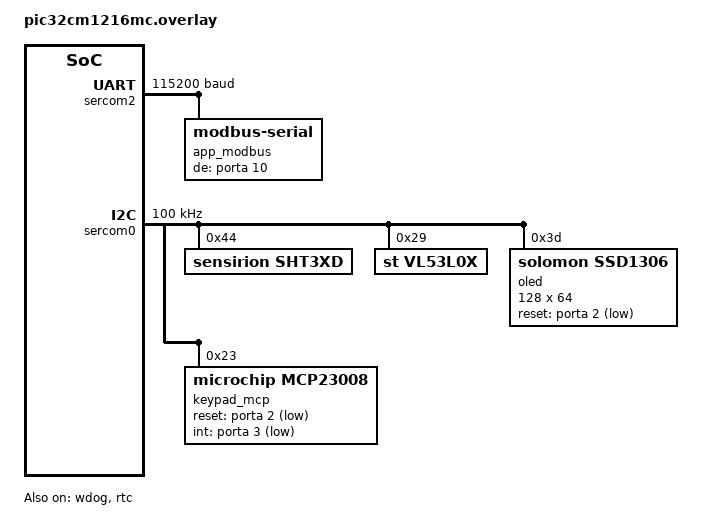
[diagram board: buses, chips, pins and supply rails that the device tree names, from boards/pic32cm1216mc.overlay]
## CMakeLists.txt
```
# SPDX-License-Identifier: Apache-2.0

cmake_minimum_required(VERSION 3.20.0)

# Out-of-tree board directory lives at <project>/boards (project root = app/..).
if(NOT DEFINED BOARD_ROOT)
  get_filename_component(BOARD_ROOT ${CMAKE_CURRENT_SOURCE_DIR}/.. ABSOLUTE)
  set(BOARD_ROOT ${BOARD_ROOT} CACHE PATH "Board root" FORCE)
endif()

find_package(Zephyr REQUIRED HINTS $ENV{ZEPHYR_BASE})
project(ZPHR-PIC32-0001)

# --- Local fix for a Zephyr SAM0 UART driver bug (no SDK edit) ---
# uart_sam0.c only caches the TXC flag (used by uart_irq_tx_complete(), which
# RS-485 / Modbus needs to drop DE after TX) when SERCOM_REV500 is defined,
# i.e. REV_SERCOM == 0x500 (SAMD51). The PIC32CM/SAMC21 SERCOM is REV 0x311 but
# DOES have TXC, so without this the Modbus TX never completes -> DRE interrupt
# storm -> lockup/watchdog reset. Force the define for this build only.
zephyr_compile_definitions(SERCOM_REV500)

target_include_directories(app PRIVATE inc)

target_sources(app PRIVATE
    src/main.c
    src/app.c
    src/button.c
    src/sensor.c
    src/modbus.c
    src/shell_nvs.c
    src/setup/setup_hw.c
    src/drivers/rtc.c
    src/drivers/watchdog.c
    src/tasks/task_ui.c
)
```

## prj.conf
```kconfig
CONFIG_GPIO=y

CONFIG_SERIAL=y
CONFIG_CONSOLE=y
CONFIG_UART_CONSOLE=y
CONFIG_PRINTK=y

CONFIG_SHELL=y
CONFIG_SHELL_STACK_SIZE=2048
CONFIG_SHELL_CMD_BUFF_SIZE=128
CONFIG_SHELL_PRINTF_BUFF_SIZE=80
CONFIG_SHELL_HISTORY=n
CONFIG_KERNEL_SHELL=y

CONFIG_UART_INTERRUPT_DRIVEN=y
CONFIG_MODBUS=y
CONFIG_MODBUS_ROLE_SERVER=y

CONFIG_REBOOT=y

CONFIG_FLASH=y
CONFIG_FLASH_MAP=y
CONFIG_NVS=y
CONFIG_NVS_INIT_BAD_MEMORY_REGION=y

CONFIG_I2C=y
CONFIG_SENSOR=y
CONFIG_SHT3XD=y
CONFIG_VL53L0X=y

CONFIG_DISPLAY=y
CONFIG_SSD1306=y
CONFIG_CHARACTER_FRAMEBUFFER=y
CONFIG_GPIO_MCP230XX=y

CONFIG_RTC=y

CONFIG_WATCHDOG=y

CONFIG_LOG=y
CONFIG_LOG_MODE_MINIMAL=y

CONFIG_MAIN_STACK_SIZE=1536
CONFIG_SYSTEM_WORKQUEUE_STACK_SIZE=1024
CONFIG_ISR_STACK_SIZE=1024

CONFIG_HEAP_MEM_POOL_SIZE=1536
CONFIG_SYS_HEAP_RUNTIME_STATS=y

CONFIG_SIZE_OPTIMIZATIONS=y
```

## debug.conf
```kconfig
CONFIG_LOG=y
CONFIG_LOG_MODE_MINIMAL=y
CONFIG_THREAD_NAME=y
CONFIG_THREAD_STACK_INFO=y
CONFIG_STACK_SENTINEL=y
```

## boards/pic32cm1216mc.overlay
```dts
/*
 * PIC32CM1216MC00032 (SAMC21E17A) - application devicetree overlay
 * (auto-applied for board pic32cm1216mc)
 *
 * Adds on top of the board:
 *   - SERCOM2 as the Modbus RTU UART (RS-485, with DE pin) on the header pins
 *     PA14 (TX) / PA15 (RX); RS-485 driver-enable (DE/RE tied) on PA10.
 *   - SERCOM0 as I2C for two sensors on the same bus:
 *       * Sensirion SHT3x temperature/humidity  @ 0x44
 *       * ST VL53L0X time-of-flight distance     @ 0x29
 *
 * SERCOM1 stays the console (board dts, debugger CDC). CAN0 is enabled by SoC.
 *
 * Pin assignment matches the Curiosity Nano silkscreen:
 *   PA14_UART-TX-S2P2, PA15_UART-RX-S2P3 (SERCOM2),
 *   PA8_I2C-SDA_S0P0,  PA9_I2C-SCL_S0P1  (SERCOM0).
 * NOTE: the kit has NO on-board I2C pull-ups (R203/R204 are DNP). Rely on the
 * sensor breakouts' own pull-ups, or add ~4.7k from SDA/SCL to VTG (3.3V).
 */

#include <zephyr/dt-bindings/gpio/gpio.h>
#include <zephyr/dt-bindings/i2c/i2c.h>
#include <dt-bindings/pinctrl/samc21n-pinctrl.h>

/ {
	aliases {
		modbus-uart = &sercom2;
		sht3x = &sht3xd;
		tof0 = &vl53l0x;
		keypad = &keypad_mcp;
	};

	chosen {
		zephyr,display = &oled;
	};
};

&pinctrl {
	/* Modbus UART: SERCOM2 TX=PA14 (PAD2), RX=PA15 (PAD3) */
	sercom2_uart_default: sercom2_uart_default {
		group1 {
			pinmux = <PA14C_SERCOM2_PAD2>,
				 <PA15C_SERCOM2_PAD3>;
		};
	};

	/* I2C: SERCOM0 SDA=PA08 (PAD0), SCL=PA09 (PAD1) */
	sercom0_i2c_default: sercom0_i2c_default {
		group1 {
			pinmux = <PA8C_SERCOM0_PAD0>,
				 <PA9C_SERCOM0_PAD1>;
		};
	};
};

/* ---- Modbus RTU serial line (RS-485) ---- */
&sercom2 {
	status = "okay";
	compatible = "atmel,sam0-uart";
	current-speed = <115200>;
	rxpo = <3>;	/* RX on PAD3 (PA15) */
	txpo = <1>;	/* TX on PAD2 (PA14) */
	pinctrl-0 = <&sercom2_uart_default>;
	pinctrl-names = "default";

	app_modbus: modbus0 {
		compatible = "zephyr,modbus-serial";
		status = "okay";
		/* RS-485 driver-enable (MAX485 DE+RE tied together) on PA10. */
		de-gpios = <&porta 10 GPIO_ACTIVE_HIGH>;
	};
};

/* ---- Watchdog (8 s, fed by the main loop) on the internal OSCULP32K ---- */
&wdog {
	status = "okay";
};

/* ---- Internal RTC (calendar) on the always-on OSCULP32K (no crystal).
 *      The board's 32.768 kHz crystal shares PA00/PA01 with the console,
 *      so we keep the console and run the RTC off the internal oscillator. */
&rtc {
	status = "okay";
	counter-mode = "clock";
	prescaler = <1024>;
};

/* ---- I2C bus + two sensors (SHT3x + VL53L0X) ---- */
&sercom0 {
	status = "okay";
	compatible = "atmel,sam0-i2c";
	clock-frequency = <I2C_BITRATE_STANDARD>;
	#address-cells = <1>;
	#size-cells = <0>;
	pinctrl-0 = <&sercom0_i2c_default>;
	pinctrl-names = "default";

	sht3xd: sht3xd@44 {
		compatible = "sensirion,sht3xd";
		reg = <0x44>;
		status = "okay";
	};

	vl53l0x: vl53l0x@29 {
		compatible = "st,vl53l0x";
		reg = <0x29>;
		status = "okay";
	};

	/* HW-LYT-00005 shield: SSD1306 128x64 OLED @ 0x3D (STM32 uses ADDR2=0x7A).
	 * LCD_RESET routed to PA02 (active-low), like the STM32's PB5. */
	oled: ssd1306@3d {
		compatible = "solomon,ssd1306";
		reg = <0x3d>;
		width = <128>;
		height = <64>;
		segment-offset = <0>;
		page-offset = <0>;
		display-offset = <0>;
		multiplex-ratio = <63>;
		/* segment-remap + com-invdir together = 180deg. This shield mounts
		 * the panel the other way up, so both are omitted (0deg). */
		prechargep = <0x22>;
		/* Normal video (black bg, white text). The header bar is drawn by
		 * inverting just the title band -> white bar with black title,
		 * matching the STM32 IHM look. */
		/* Shared shield RESET line (connector pin 3) -> PA02. */
		reset-gpios = <&porta 2 GPIO_ACTIVE_LOW>;
	};

	/* HW-LYT-00005 shield: MCP23008 GPIO expander @ 0x23.
	 *   P0..P3 = 4 status LEDs, P4..P7 = keys (UP/DOWN/CANCEL/ENTER).
	 * Shared shield RESET line (connector pin 3) -> PA02 (same as the OLED).
	 * INT line (connector pin 1) -> PA03 (active-low) for event-driven keys. */
	keypad_mcp: mcp23008@23 {
		compatible = "microchip,mcp23008";
		reg = <0x23>;
		status = "okay";
		gpio-controller;
		#gpio-cells = <2>;
		ngpios = <8>;
		reset-gpios = <&porta 2 GPIO_ACTIVE_LOW>;
		int-gpios = <&porta 3 GPIO_ACTIVE_LOW>;
	};
};
```

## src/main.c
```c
#include <zephyr/kernel.h>
#include <zephyr/sys/reboot.h>

#include "app.h"
#include "button.h"
#include "display.h"
#include "drivers/rtc.h"
#include "drivers/watchdog.h"
#include "sensor.h"
#include "setup/setup_hw.h"

#include <zephyr/logging/log.h>
LOG_MODULE_REGISTER(app, LOG_LEVEL_INF);

#define LOOP_TICK_MS      20      /* fast tick: watchdog + responsive button */
#define SENSOR_PERIOD_MS  1000    /* sensor read + RTC refresh + display redraw */

/* Apply the deferred Modbus requests outside the callback context. */
static void service_modbus_cmds(struct app_controller *app)
{
	uint32_t epoch = 0;

	if (app_consume_time_set(app, &epoch)) {
		rtc_write_epoch(epoch);
	}
	if (app_consume_config_dirty(app)) {
		setup_config_save(app);
	}
	if (app_reboot_requested(app)) {
		LOG_WRN("Reboot requested over Modbus");
		k_msleep(50);
		sys_reboot(SYS_REBOOT_COLD);
	}
}

int main(void)
{
	struct app_controller *app = NULL;
	int64_t next_sensor_ms = 0;

	if (setup_init() != 0) {
		return 0;
	}

	app = setup_app();

	while (1) {
		watchdog_kick();

		/* Board button: sampled + debounced every fast tick (20 ms) so it
		 * stays responsive. */
		button_poll(app);

		/* Sensors + RTC + display refresh, gated to ~1 s (the I2C reads
		 * are slow, no need to do them every tick). */
		if (k_uptime_get() >= next_sensor_ms) {
			uint32_t epoch = 0;

			sensor_update();
			if (rtc_read_epoch(&epoch) == 0) {
				app_set_rtc_epoch(app, epoch);
			}
			ui_notify();

			next_sensor_ms = k_uptime_get() + SENSOR_PERIOD_MS;
		}

		/* Deferred Modbus commands (time-set / config save / reboot). */
		service_modbus_cmds(app);

		k_msleep(LOOP_TICK_MS);
	}

	return 0;
}
```

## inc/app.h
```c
#ifndef APP_H_
#define APP_H_

#ifdef __cplusplus
extern "C" {
#endif

#include <stdbool.h>
#include <stdint.h>

#define APP_FW_VERSION   0x0100
#define MODBUS_UNIT_ID   1

struct app_controller;
struct app_controller *app_init(void);
void app_set_led(struct app_controller *app, bool on);
bool app_get_led(struct app_controller *app);
void app_request_reboot(struct app_controller *app);
bool app_reboot_requested(struct app_controller *app);
void app_set_button(struct app_controller *app, bool pressed);
bool app_get_button(struct app_controller *app);
uint32_t app_get_press_count(struct app_controller *app);
void app_set_press_count(struct app_controller *app, uint32_t count);
void app_load_config(struct app_controller *app, uint16_t led_default);
void app_read_config(struct app_controller *app, uint16_t *led_default);
void app_set_led_default(struct app_controller *app, uint16_t led_default);
uint16_t app_get_led_default(struct app_controller *app);
bool app_consume_config_dirty(struct app_controller *app);
void app_set_rtc_epoch(struct app_controller *app, uint32_t epoch);
uint32_t app_get_rtc_epoch(struct app_controller *app);
void app_set_time_hi(struct app_controller *app, uint16_t hi);
void app_request_time_set(struct app_controller *app, uint16_t lo);
uint32_t app_get_set_epoch(struct app_controller *app);
bool app_consume_time_set(struct app_controller *app, uint32_t *epoch);

#ifdef __cplusplus
}
#endif

#endif /* APP_H_ */
```

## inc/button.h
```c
#ifndef BUTTON_H_
#define BUTTON_H_

#ifdef __cplusplus
extern "C" {
#endif

struct app_controller;

int button_init(void);
void button_poll(struct app_controller *app);

#ifdef __cplusplus
}
#endif

#endif /* BUTTON_H_ */
```

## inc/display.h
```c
#ifndef DISPLAY_H_
#define DISPLAY_H_

#ifdef __cplusplus
extern "C" {
#endif

#include <stdbool.h>

struct app_controller;

int ui_init(struct app_controller *app);
void ui_boot_splash(void);
void ui_render(void);
void ui_update_leds(void);
void ui_service_keys(void);
void ui_notify(void);

#ifdef __cplusplus
}
#endif

#endif /* DISPLAY_H_ */
```

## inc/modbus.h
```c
#ifndef MODBUS_APP_H_
#define MODBUS_APP_H_

#ifdef __cplusplus
extern "C" {
#endif

struct app_controller;

int modbus_server_start(struct app_controller *app);

#ifdef __cplusplus
}
#endif

#endif /* MODBUS_APP_H_ */
```

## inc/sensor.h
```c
#ifndef SENSOR_H_
#define SENSOR_H_

#ifdef __cplusplus
extern "C" {
#endif

#include <stdint.h>

struct sensor_measures {
	int16_t temp_c100;       /* temperature, degC x 100 */
	uint16_t rh_x100;        /* relative humidity, %RH x 100 */
	uint16_t sensor_status;  /* SHT3x: 0 ok, 1 error/absent */
	uint16_t dist_mm;        /* VL53L0X distance, mm */
	uint16_t dist_status;    /* VL53L0X: 0 ok, 1 error/absent */
};

int sensor_init(void);
void sensor_update(void);
int sensor_get(struct sensor_measures *measures);

#ifdef __cplusplus
}
#endif

#endif /* SENSOR_H_ */
```

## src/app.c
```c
#include "app.h"

#include <zephyr/device.h>
#include <zephyr/drivers/gpio.h>
#include <zephyr/kernel.h>

#include <zephyr/logging/log.h>
LOG_MODULE_REGISTER(app_ctrl, LOG_LEVEL_INF);

struct app_controller {
	struct k_mutex lock;
	bool led_on;
	bool reboot_req;
	bool button_state;
	bool config_dirty;        /* set by Modbus, flushed to NVS by main loop */
	bool time_set_req;        /* set by Modbus, applied by main loop */
	uint16_t set_epoch_hi;    /* buffered high word for a time-set write */
	uint16_t led_default;     /* 0/1 */
	uint32_t press_count;
	uint32_t rtc_epoch;       /* cached RTC time (epoch seconds) */
	uint32_t set_epoch;       /* full epoch to apply (set by Modbus) */
};

static inline void app_lock(struct app_controller *app);
static inline void app_unlock(struct app_controller *app);
static void led_drive(struct app_controller *app);

static const struct gpio_dt_spec led = GPIO_DT_SPEC_GET(DT_ALIAS(led0), gpios);

static struct app_controller app_instance;

static inline void app_lock(struct app_controller *app)
{
	k_mutex_lock(&app->lock, K_FOREVER);
}

static inline void app_unlock(struct app_controller *app)
{
	k_mutex_unlock(&app->lock);
}

/* Drive led0 from app->led_on. Only called with the lock held. */
static void led_drive(struct app_controller *app)
{
	gpio_pin_set_dt(&led, app->led_on ? 1 : 0);
}

struct app_controller *app_init(void)
{
	struct app_controller *app = &app_instance;

	k_mutex_init(&app->lock);

	if (!gpio_is_ready_dt(&led)) {
		LOG_ERR("LED GPIO not ready");
		return NULL;
	}
	gpio_pin_configure_dt(&led, GPIO_OUTPUT_INACTIVE);
	return app;
}

void app_set_led(struct app_controller *app, bool on)
{
	app_lock(app);
	app->led_on = on;
	led_drive(app);
	app_unlock(app);
}

bool app_get_led(struct app_controller *app)
{
	bool on = false;

	app_lock(app);
	on = app->led_on;
	app_unlock(app);
	return on;
}

void app_request_reboot(struct app_controller *app)
{
	app_lock(app);
	app->reboot_req = true;
	app_unlock(app);
}

bool app_reboot_requested(struct app_controller *app)
{
	bool req = false;

	app_lock(app);
	req = app->reboot_req;
	app_unlock(app);
	return req;
}

void app_set_button(struct app_controller *app, bool pressed)
{
	app_lock(app);
	app->button_state = pressed;
	if (pressed) {
		app->press_count++;
		app->config_dirty = true;   /* persist the new count to NVS */
	}
	app_unlock(app);
}

bool app_get_button(struct app_controller *app)
{
	bool pressed = false;

	app_lock(app);
	pressed = app->button_state;
	app_unlock(app);
	return pressed;
}

uint32_t app_get_press_count(struct app_controller *app)
{
	uint32_t count = 0;

	app_lock(app);
	count = app->press_count;
	app_unlock(app);
	return count;
}

void app_set_press_count(struct app_controller *app, uint32_t count)
{
	app_lock(app);
	app->press_count = count;
	app_unlock(app);
}

void app_load_config(struct app_controller *app, uint16_t led_default)
{
	app_lock(app);
	app->led_default = led_default ? 1 : 0;
	app_unlock(app);
}

void app_read_config(struct app_controller *app, uint16_t *led_default)
{
	app_lock(app);
	*led_default = app->led_default;
	app_unlock(app);
}

void app_set_led_default(struct app_controller *app, uint16_t led_default)
{
	app_lock(app);
	app->led_default = led_default ? 1 : 0;
	app->config_dirty = true;
	app_unlock(app);
}

uint16_t app_get_led_default(struct app_controller *app)
{
	uint16_t led_default = 0;

	app_lock(app);
	led_default = app->led_default;
	app_unlock(app);
	return led_default;
}

bool app_consume_config_dirty(struct app_controller *app)
{
	bool dirty = false;

	app_lock(app);
	dirty = app->config_dirty;
	app->config_dirty = false;
	app_unlock(app);
	return dirty;
}

void app_set_rtc_epoch(struct app_controller *app, uint32_t epoch)
{
	app_lock(app);
	app->rtc_epoch = epoch;
	app_unlock(app);
}

uint32_t app_get_rtc_epoch(struct app_controller *app)
{
	uint32_t epoch = 0;

	app_lock(app);
	epoch = app->rtc_epoch;
	app_unlock(app);
	return epoch;
}

void app_set_time_hi(struct app_controller *app, uint16_t hi)
{
	app_lock(app);
	app->set_epoch_hi = hi;
	app_unlock(app);
}

void app_request_time_set(struct app_controller *app, uint16_t lo)
{
	app_lock(app);
	app->set_epoch = ((uint32_t)app->set_epoch_hi << 16) | lo;
	app->time_set_req = true;
	app_unlock(app);
}

uint32_t app_get_set_epoch(struct app_controller *app)
{
	uint32_t epoch = 0;

	app_lock(app);
	epoch = app->set_epoch;
	app_unlock(app);
	return epoch;
}

bool app_consume_time_set(struct app_controller *app, uint32_t *epoch)
{
	bool req = false;

	app_lock(app);
	req = app->time_set_req;
	app->time_set_req = false;
	*epoch = app->set_epoch;
	app_unlock(app);
	return req;
}
```

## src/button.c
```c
#include "button.h"

#include <errno.h>

#include <zephyr/device.h>
#include <zephyr/drivers/gpio.h>
#include <zephyr/kernel.h>

#include "app.h"

#include <zephyr/logging/log.h>
LOG_MODULE_REGISTER(app_button, LOG_LEVEL_INF);

#define DEBOUNCE_TICKS   2

static const struct gpio_dt_spec button = GPIO_DT_SPEC_GET(DT_ALIAS(sw0), gpios);

static int raw_prev;
static int stable;
static bool pressed;

int button_init(void)
{
	if (!gpio_is_ready_dt(&button)) {
		return -ENODEV;
	}
	gpio_pin_configure_dt(&button, GPIO_INPUT);
	return 0;
}

void button_poll(struct app_controller *app)
{
	int raw = gpio_pin_get_dt(&button);

	if (raw == raw_prev) {
		if (stable < DEBOUNCE_TICKS) {
			stable++;
		}
	} else {
		stable = 0;
		raw_prev = raw;
	}

	if (stable == DEBOUNCE_TICKS && (raw != 0) != pressed) {
		pressed = (raw != 0);
		app_set_button(app, pressed);
	}
}
```

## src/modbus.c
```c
/**
 *
 * Register map (all addresses 0-based):
 *
 *   Coils (FC01 read / FC05 write) - RW bits
 *     0  LED control            1=on, 0=off (manual)
 *     1  Reboot command         write 1 -> system reboot
 *
 *   Discrete Inputs (FC02) - RO bits
 *     0  Button SW0 state       1=pressed
 *
 *   Input Registers (FC04) - RO 16-bit
 *     0  Uptime seconds, high word
 *     1  Uptime seconds, low word
 *     2  Button press count
 *     3  Firmware version       (0x0100 = v1.0)
 *     4  Free heap (bytes)
 *     5  SHT3x temperature      signed, degC x 100
 *     6  SHT3x humidity          %RH x 100
 *     7  VL53L0X distance       millimeters (clamped to 65535)
 *     8  RTC time, high word    epoch seconds >> 16
 *     9  RTC time, low word     epoch seconds & 0xFFFF
 *
 *   Holding Registers (FC03 read / FC06 write) - RW 16-bit (config)
 *     0  LED default state      restored on boot (0/1)   [NVS]
 *     1  Set time, high word    epoch seconds >> 16      (buffered)
 *     2  Set time, low word     epoch seconds & 0xFFFF   (write applies to RTC)
 */

#include "modbus.h"

#include <zephyr/kernel.h>
#include <zephyr/modbus/modbus.h>
#include <zephyr/sys/sys_heap.h>
#include <zephyr/sys/mem_stats.h>

#include "app.h"
#include "sensor.h"

#include <zephyr/logging/log.h>
LOG_MODULE_REGISTER(app_modbus, LOG_LEVEL_INF);

#define MODBUS_NODE DT_COMPAT_GET_ANY_STATUS_OKAY(zephyr_modbus_serial)

extern struct k_heap _system_heap;

static uint32_t modbus_free_heap_bytes(void);
static int modbus_coil_rd(uint16_t addr, bool *state);
static int modbus_coil_wr(uint16_t addr, bool state);
static int modbus_discrete_input_rd(uint16_t addr, bool *state);
static int modbus_input_reg_rd(uint16_t addr, uint16_t *reg);
static int modbus_holding_reg_rd(uint16_t addr, uint16_t *reg);
static int modbus_holding_reg_wr(uint16_t addr, uint16_t reg);

static struct modbus_user_callbacks mbs_cbs = {
	.coil_rd = modbus_coil_rd,
	.coil_wr = modbus_coil_wr,
	.discrete_input_rd = modbus_discrete_input_rd,
	.input_reg_rd = modbus_input_reg_rd,
	.holding_reg_rd = modbus_holding_reg_rd,
	.holding_reg_wr = modbus_holding_reg_wr,
};

/* Controller handle, stashed at start; the fixed-signature callbacks below
 * cannot take it as a parameter, so they read it from here. */
static struct app_controller *app_ctrl;

static uint32_t modbus_free_heap_bytes(void)
{
	struct sys_memory_stats stats = {0};

	if (sys_heap_runtime_stats_get(&_system_heap.heap, &stats) != 0) {
		return 0;
	}
	return (uint32_t)stats.free_bytes;
}

static int modbus_coil_rd(uint16_t addr, bool *state)
{
	switch (addr) {
	case 0: *state = app_get_led(app_ctrl); break;
	case 1: *state = app_reboot_requested(app_ctrl); break;
	default:
		return -ENOTSUP;
	}
	return 0;
}

static int modbus_coil_wr(uint16_t addr, bool state)
{
	switch (addr) {
	case 0:
		app_set_led(app_ctrl, state);
		break;
	case 1:
		if (state) {
			app_request_reboot(app_ctrl);
		}
		break;
	default:
		return -ENOTSUP;
	}
	return 0;
}

static int modbus_discrete_input_rd(uint16_t addr, bool *state)
{
	if (addr != 0) {
		return -ENOTSUP;
	}
	*state = app_get_button(app_ctrl);
	return 0;
}

static int modbus_input_reg_rd(uint16_t addr, uint16_t *reg)
{
	uint32_t uptime_s = (uint32_t)(k_uptime_get() / 1000);
	struct sensor_measures meas = {0};

	sensor_get(&meas);

	switch (addr) {
	case 0: *reg = (uint16_t)(uptime_s >> 16); break;
	case 1: *reg = (uint16_t)(uptime_s & 0xFFFF); break;
	case 2: *reg = (uint16_t)app_get_press_count(app_ctrl); break;
	case 3: *reg = APP_FW_VERSION; break;
	case 4: *reg = (uint16_t)MIN(modbus_free_heap_bytes(), 0xFFFF); break;
	case 5: *reg = (uint16_t)meas.temp_c100; break;
	case 6: *reg = meas.rh_x100; break;
	case 7: *reg = meas.dist_mm; break;
	case 8: *reg = (uint16_t)(app_get_rtc_epoch(app_ctrl) >> 16); break;
	case 9: *reg = (uint16_t)(app_get_rtc_epoch(app_ctrl) & 0xFFFF); break;
	default:
		return -ENOTSUP;
	}
	return 0;
}

static int modbus_holding_reg_rd(uint16_t addr, uint16_t *reg)
{
	switch (addr) {
	case 0: *reg = app_get_led_default(app_ctrl); break;
	case 1: *reg = (uint16_t)(app_get_set_epoch(app_ctrl) >> 16); break;
	case 2: *reg = (uint16_t)(app_get_set_epoch(app_ctrl) & 0xFFFF); break;
	default:
		return -ENOTSUP;
	}
	return 0;
}

static int modbus_holding_reg_wr(uint16_t addr, uint16_t reg)
{
	switch (addr) {
	case 0:
		app_set_led_default(app_ctrl, reg);
		break;
	case 1:
		/* buffer the high word; the low-word write applies the time */
		app_set_time_hi(app_ctrl, reg);
		break;
	case 2:
		app_request_time_set(app_ctrl, reg);
		break;
	default:
		return -ENOTSUP;
	}
	return 0;
}

int modbus_server_start(struct app_controller *app)
{
	const char iface_name[] = {DEVICE_DT_NAME(MODBUS_NODE)};
	int iface = modbus_iface_get_by_name(iface_name);
	struct modbus_iface_param param = {
		.mode = MODBUS_MODE_RTU,
		.server = {
			.user_cb = &mbs_cbs,
			.unit_id = MODBUS_UNIT_ID,
		},
		.serial = {
			.baud = 115200,
			.parity = UART_CFG_PARITY_NONE,
			.stop_bits = UART_CFG_STOP_BITS_1,
		},
	};

	if (iface < 0) {
		LOG_ERR("No Modbus iface for %s (%d)", iface_name, iface);
		return iface;
	}

	app_ctrl = app;
	return modbus_init_server(iface, param);
}
```

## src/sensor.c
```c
#include "sensor.h"

#include <errno.h>

#include <zephyr/device.h>
#include <zephyr/drivers/sensor.h>
#include <zephyr/init.h>
#include <zephyr/kernel.h>

#include <zephyr/logging/log.h>
LOG_MODULE_REGISTER(app_sensor, LOG_LEVEL_INF);

struct sensor_state {
	struct k_mutex lock;
	struct sensor_measures measures;
};

static const struct device *const sht3x = DEVICE_DT_GET(DT_ALIAS(sht3x));
static const struct device *const vl53 = DEVICE_DT_GET(DT_ALIAS(tof0));

static struct sensor_state sensor;

int sensor_init(void)
{
	int err = -EIO;
	
	k_mutex_init(&sensor.lock);

	if (!device_is_ready(sht3x)) {
		LOG_WRN("SHT3x not ready");
	}
	else if (!device_is_ready(vl53)) {
		LOG_WRN("VL53L0X not ready");
	}
	else {
		return err = 0;
	}

	return err;
}

void sensor_update(void)
{
	int16_t t100 = 0;
	uint16_t rh100 = 0;
	uint16_t dist_mm = 0;
	uint16_t sht_status = 1;
	uint16_t tof_status = 1;
	uint32_t raw_mm = 0;
	struct sensor_value temp = {0};
	struct sensor_value humidity = {0};
	struct sensor_value distance = {0};

	/* SHT3x temperature / humidity. */
	if (sensor_sample_fetch(sht3x) == 0 &&
	    sensor_channel_get(sht3x, SENSOR_CHAN_AMBIENT_TEMP, &temp) == 0 &&
	    sensor_channel_get(sht3x, SENSOR_CHAN_HUMIDITY, &humidity) == 0) {
		t100 = (int16_t)(sensor_value_to_double(&temp) * 100.0);
		rh100 = (uint16_t)(sensor_value_to_double(&humidity) * 100.0);
		sht_status = 0;
	}

	/* VL53L0X distance (DISTANCE channel: val1=m, val2=micro-m). */
	if (sensor_sample_fetch(vl53) == 0 &&
	    sensor_channel_get(vl53, SENSOR_CHAN_DISTANCE, &distance) == 0) {
		raw_mm = (uint32_t)distance.val1 * 1000U +
			 (uint32_t)distance.val2 / 1000U;
		dist_mm = (uint16_t)MIN(raw_mm, 0xFFFFU);
		tof_status = 0;
	}

	k_mutex_lock(&sensor.lock, K_FOREVER);
	sensor.measures.temp_c100 = t100;
	sensor.measures.rh_x100 = rh100;
	sensor.measures.sensor_status = sht_status;
	sensor.measures.dist_mm = dist_mm;
	sensor.measures.dist_status = tof_status;
	k_mutex_unlock(&sensor.lock);

	/* Per-read values at DEBUG level (off by default; raise the module log
	 * level to see them). Integer math: no float in LOG_MODE_MINIMAL. */
	LOG_DBG("SHT3x: temp=%d.%02d C  rh=%u.%02u %%  | VL53L0X: dist=%u mm (st=%u)",
		t100 / 100, (t100 < 0 ? -t100 : t100) % 100,
		rh100 / 100U, rh100 % 100U, dist_mm, tof_status);
}

int sensor_get(struct sensor_measures *measures)
{
	if (measures == NULL) {
		return -EINVAL;
	}
	k_mutex_lock(&sensor.lock, K_FOREVER);
	*measures = sensor.measures;
	k_mutex_unlock(&sensor.lock);
	return 0;
}
```

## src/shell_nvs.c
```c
#include <zephyr/kernel.h>
#include <zephyr/shell/shell.h>

#include "setup/setup_hw.h"

static int cmd_nvs_show(const struct shell *sh, size_t argc, char **argv)
{
	uint16_t led_default = 0;
	uint32_t press_count = 0;
	int rc;

	ARG_UNUSED(argc);
	ARG_UNUSED(argv);

	rc = setup_config_read_saved(&led_default, &press_count);
	switch (rc) {
	case 0:
		shell_print(sh, "Saved config (NVS id 1):");
		shell_print(sh, "  led_default   = %u", led_default);
		shell_print(sh, "  press_count   = %u", press_count);
		break;
	case -ENOENT:
		shell_print(sh, "No config saved yet — running on defaults.");
		break;
	default:
		shell_error(sh, "NVS not available (%d).", rc);
		break;
	}
	return 0;
}

SHELL_STATIC_SUBCMD_SET_CREATE(nvs_sub,
	SHELL_CMD(show, NULL, "Show the config values saved in NVS", cmd_nvs_show),
	SHELL_SUBCMD_SET_END);

SHELL_CMD_REGISTER(nvs, &nvs_sub, "Application NVS config", NULL);
```
